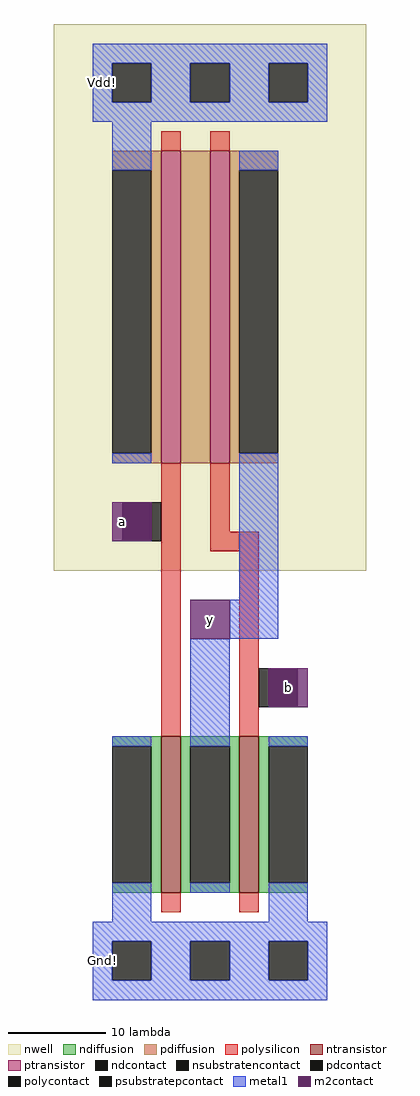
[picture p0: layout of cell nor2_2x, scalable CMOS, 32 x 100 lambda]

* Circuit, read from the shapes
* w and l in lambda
.subckt nor2_2x Gnd! Vdd! a b y
M1 y a Gnd! Gnd! nfet w=16 l=2
M2 Gnd! b y Gnd! nfet w=16 l=2
M3 n1 a Vdd! Vdd! pfet w=32 l=2
M4 y b n1 Vdd! pfet w=32 l=2
.ends

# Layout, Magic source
magic
tech scmos
<< nwell >>
rect -6 40 26 96
<< ntransistor >>
rect 5 7 7 23
rect 13 7 15 23
<< ptransistor >>
rect 5 51 7 83
rect 10 51 12 83
<< ndiffusion >>
rect 0 22 5 23
rect 4 8 5 22
rect 0 7 5 8
rect 7 22 13 23
rect 7 8 8 22
rect 12 8 13 22
rect 7 7 13 8
rect 15 22 20 23
rect 15 8 16 22
rect 15 7 20 8
<< pdiffusion >>
rect 0 81 5 83
rect 4 52 5 81
rect 0 51 5 52
rect 7 51 10 83
rect 12 81 17 83
rect 12 52 13 81
rect 12 51 17 52
<< ndcontact >>
rect 0 8 4 22
rect 8 8 12 22
rect 16 8 20 22
<< pdcontact >>
rect 0 52 4 81
rect 13 52 17 81
<< psubstratepcontact >>
rect 0 -2 4 2
rect 8 -2 12 2
rect 16 -2 20 2
<< nsubstratencontact >>
rect 0 88 4 92
rect 8 88 12 92
rect 16 88 20 92
<< polysilicon >>
rect 5 83 7 85
rect 10 83 12 85
rect 5 23 7 51
rect 10 44 12 51
rect 10 42 15 44
rect 13 23 15 42
rect 5 5 7 7
rect 13 5 15 7
<< polycontact >>
rect 1 43 5 47
rect 15 26 19 30
<< metal1 >>
rect -2 92 22 94
rect -2 88 0 92
rect 4 88 8 92
rect 12 88 16 92
rect 20 88 22 92
rect -2 86 22 88
rect 0 81 4 86
rect 0 51 4 52
rect 13 81 17 83
rect 13 37 17 52
rect 12 33 17 37
rect 0 22 4 23
rect 0 4 4 8
rect 8 22 12 33
rect 8 7 12 8
rect 16 22 20 23
rect 16 4 20 8
rect -2 2 22 4
rect -2 -2 0 2
rect 4 -2 8 2
rect 12 -2 16 2
rect 20 -2 22 2
rect -2 -4 22 -2
<< m2contact >>
rect 0 43 1 47
rect 1 43 4 47
rect 8 33 12 37
rect 16 26 19 30
rect 19 26 20 30
<< labels >>
rlabel metal1 -1 0 -1 0 2 Gnd!
rlabel metal1 -1 90 -1 90 3 Vdd!
rlabel m2contact 1 45 1 45 1 a
rlabel m2contact 10 35 10 35 1 y
rlabel m2contact 18 28 18 28 1 b
<< end >>
